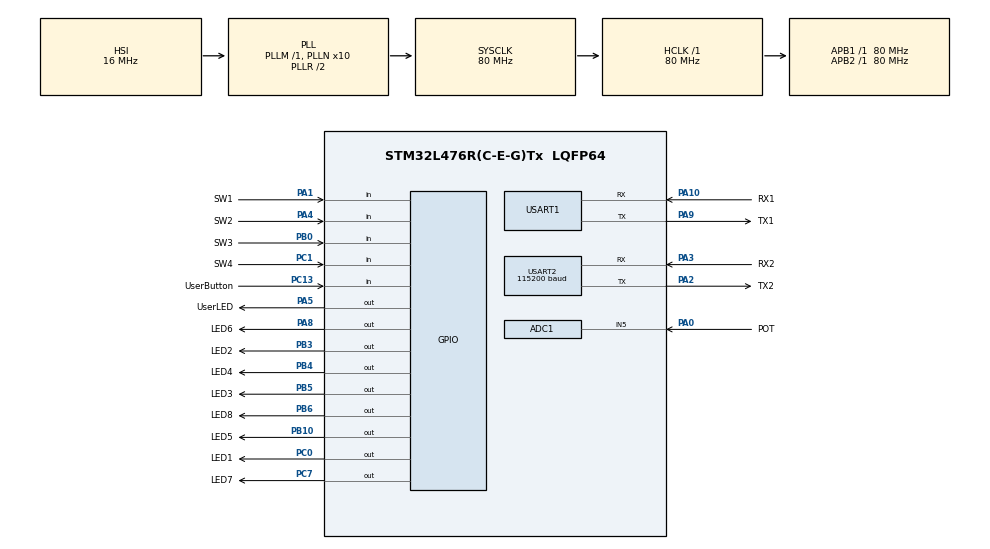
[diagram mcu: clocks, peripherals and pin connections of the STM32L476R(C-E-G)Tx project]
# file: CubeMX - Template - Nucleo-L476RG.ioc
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ADC1.Channel-0\#ChannelRegularConversion=ADC_CHANNEL_5
ADC1.NbrOfConversionFlag=1
ADC1.OffsetNumber-0\#ChannelRegularConversion=ADC_OFFSET_NONE
ADC1.Overrun=ADC_OVR_DATA_OVERWRITTEN
ADC1.Rank-0\#ChannelRegularConversion=1
ADC1.Resolution=ADC_RESOLUTION_12B
ADC1.SamplingTime-0\#ChannelRegularConversion=ADC_SAMPLETIME_2CYCLES_5
ADC1.master=1
IWDG.Prescaler=IWDG_PRESCALER_256
IWDG.Reload=1249
Mcu.Family=STM32L4
Mcu.Name=STM32L476R(C-E-G)Tx
Mcu.Package=LQFP64
NVIC.PriorityGroup=NVIC_PRIORITYGROUP_4
NVIC.USART1_IRQn=true\:0\:0\:false\:false\:true\:true\:true\:true
PA0.GPIO_Label=POT
PA0.Signal=ADCx_IN5
PA1.GPIO_Label=SW1
PA1.Signal=GPIO_Input
PA10.GPIO_Label=RX1
PA10.Mode=Asynchronous
PA10.Signal=USART1_RX
PA13\ (JTMS-SWDIO).GPIO_Label=TMS
PA13\ (JTMS-SWDIO).Mode=Serial_Wire
PA13\ (JTMS-SWDIO).Signal=SYS_JTMS-SWDIO
PA14\ (JTCK-SWCLK).GPIO_Label=TCK
PA14\ (JTCK-SWCLK).Mode=Serial_Wire
PA14\ (JTCK-SWCLK).Signal=SYS_JTCK-SWCLK
PA2.GPIO_Label=TX2
PA2.GPIO_Mode=GPIO_MODE_AF_PP
PA2.GPIO_PuPd=GPIO_NOPULL
PA2.GPIO_Speed=GPIO_SPEED_FREQ_VERY_HIGH
PA2.Mode=Asynchronous
PA2.Signal=USART2_TX
PA3.GPIO_Label=RX2
PA3.GPIO_Mode=GPIO_MODE_AF_PP
PA3.GPIO_PuPd=GPIO_NOPULL
PA3.GPIO_Speed=GPIO_SPEED_FREQ_VERY_HIGH
PA3.Mode=Asynchronous
PA3.Signal=USART2_RX
PA4.GPIO_Label=SW2
PA4.Signal=GPIO_Input
PA5.GPIO_Label=UserLED
PA5.GPIO_ModeDefaultOutputPP=GPIO_MODE_OUTPUT_PP
PA5.GPIO_PuPd=GPIO_NOPULL
PA5.GPIO_Speed=GPIO_SPEED_FREQ_LOW
PA5.Signal=GPIO_Output
PA8.GPIO_Label=LED6
PA8.Signal=GPIO_Output
PA9.GPIO_Label=TX1
PA9.Mode=Asynchronous
PA9.Signal=USART1_TX
PB0.GPIO_Label=SW3
PB0.Signal=GPIO_Input
PB10.GPIO_Label=LED5
PB10.Signal=GPIO_Output
PB3\ (JTDO-TRACESWO).GPIO_Label=LED2
PB3\ (JTDO-TRACESWO).Signal=GPIO_Output
PB4\ (NJTRST).GPIO_Label=LED4
PB4\ (NJTRST).Signal=GPIO_Output
PB5.GPIO_Label=LED3
PB5.Signal=GPIO_Output
PB6.GPIO_Label=LED8
PB6.Signal=GPIO_Output
PC0.GPIO_Label=LED1
PC0.Signal=GPIO_Output
PC1.GPIO_Label=SW4
PC1.Signal=GPIO_Input
PC13.GPIO_Label=UserButton
PC13.Signal=GPIO_Input
PC7.GPIO_Label=LED7
PC7.Signal=GPIO_Output
ProjectManager.HeapSize=0x200
ProjectManager.StackSize=0x400
ProjectManager.TargetToolchain=MDK-ARM V5.32
RCC.ADCFreq_Value=64000000
RCC.AHBFreq_Value=80000000
RCC.APB1Freq_Value=80000000
RCC.APB1TimFreq_Value=80000000
RCC.APB2Freq_Value=80000000
RCC.APB2TimFreq_Value=80000000
RCC.CortexFreq_Value=80000000
RCC.HCLKFreq_Value=80000000
RCC.HSE_VALUE=8000000
RCC.HSI_VALUE=16000000
RCC.LSE_VALUE=32768
RCC.MSI_VALUE=4000000
RCC.PLLN=10
RCC.PLLSourceVirtual=RCC_PLLSOURCE_HSI
RCC.PREFETCH_ENABLE=1
RCC.SYSCLKFreq_VALUE=80000000
RCC.SYSCLKSource=RCC_SYSCLKSOURCE_PLLCLK
RCC.USBFreq_Value=64000000
RCC.VCOOutputFreq_Value=160000000
SH.ADCx_IN5.0=ADC1_IN5,IN5-Single-Ended
USART1.OverrunDisableParam=ADVFEATURE_OVERRUN_DISABLE
USART1.VirtualMode-Asynchronous=VM_ASYNC
USART2.BaudRate=115200
USART2.OverrunDisableParam=ADVFEATURE_OVERRUN_DISABLE
USART2.VirtualMode-Asynchronous=VM_ASYNC
VP_IWDG_VS_IWDG.Mode=IWDG_Activate
board=NUCLEO-L476RG

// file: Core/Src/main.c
/* USER CODE BEGIN Header */
/**
  ******************************************************************************
  * @file           : main.c
  * @brief          : Main program body
  ******************************************************************************
  * @attention
  *
  * Copyright (c) 2023 STMicroelectronics.
  * All rights reserved.
  *
  * This software is licensed under terms that can be found in the LICENSE file
  * in the root directory of this software component.
  * If no LICENSE file comes with this software, it is provided AS-IS.
  *
  ******************************************************************************
  */
	// Versie: 20252026
/* USER CODE END Header */
#include "main.h"

/* USER CODE BEGIN Includes */
#include "stdlib.h"
#include "string.h"
#include "leds.h"
#include "buttons.h"
#include "usart1.h"
#include "usart2.h"
#include "ad.h"
#include "stdio.h"
#include "circularBuffer.h"
#include "esp32c3.h"
#include "wifi.h"
/* USER CODE END Includes */

ADC_HandleTypeDef hadc1;

IWDG_HandleTypeDef hiwdg;

UART_HandleTypeDef huart1;
UART_HandleTypeDef huart2;

/* USER CODE BEGIN PV */
static uint8_t buttonsValue = 0, index = 0;
static uint16_t adValue = 0;
static volatile uint32_t ticks = 0;

static bool userButtonHelp = false, sw1Help = false, sw2Help = false, sw3Help = false, sw4Help = false;
volatile bool timerTicked = false;
static bool timeBasedPublishing = false;
static char text[CHAR_ARRAY_BUFFER_LENGTH];
static char receivedText[CHAR_ARRAY_BUFFER_LENGTH];
static char httpParameters[CHAR_ARRAY_BUFFER_LENGTH];					// Steeds in de vorm:  "key1=value1&key2=value2&...".
static volatile enum UsartState usart1State =	idle;

// Verwijzing maken naar een circulair buffer dat alle binnenkomende data van de ESP-module opslaat.
extern volatile CircularBuffer circularBuffer;
extern enum CircularBufferActionResult circularBufferActionResult;
static uint8_t leds = 0, numberOfReceivedBytes = 0;

static volatile uint8_t receivedUsart1Data = 0;

// Firebase button tracking
static uint8_t previousButtonsValue = 0;  // Houd vorige knopstatus bij
static bool isRequestInProgress = false;  // Beveiliging tegen concurrente requests
/* USER CODE END PV */

void SystemClock_Config(void);
static void MX_GPIO_Init(void);
static void MX_ADC1_Init(void);
static void MX_USART2_UART_Init(void);
static void MX_USART1_UART_Init(void);
static void MX_IWDG_Init(void);

int main(void)
{

  /* MCU Configuration--------------------------------------------------------*/

  /* Reset of all peripherals, Initializes the Flash interface and the Systick. */
  HAL_Init();

  /* Configure the system clock */
  SystemClock_Config();

  /* Initialize all configured peripherals */
  MX_GPIO_Init();
  MX_ADC1_Init();
  MX_USART2_UART_Init();
  MX_USART1_UART_Init();
  MX_IWDG_Init();
  /* USER CODE BEGIN 2 */
	// OPM: gebruikte WiFi-module = ESP01-C3 (https://www.lilygo.cc/products/t-01c3
	// of https://www.tinytronics.nl/shop/nl/communicatie-en-signalen/draadloos/wi-fi/modules/lilygo-t-01c3-esp32-wi-fi-en-bluetooth-le-module).

	// Laten weten dat we opgestart zijn, via de USART2 (USB).
	printf("Reboot\r\n");
	printf("User button = start/stop pushing to Firebase.\r\n");

	// Circulaire buffer initialiseren.
	if(InitCircularBuffer(&circularBuffer) != INIT_SUCCEEDED)
		printf("Initialization of CircularBuffer failed!\r\n");

	// WiFi-module tijd geven om op te starten.
	HAL_Delay(1000);

	// Ontvangst van ��n byte via interrupts starten (voor de ESP32-module).
	HAL_UART_Receive_IT(&huart1, (uint8_t*)&receivedUsart1Data, 1);

	// WiFi-module in AT-mode zetten.
	StringToUsart1("AT\r\n");
	while(!LookForString1(&circularBuffer, "OK\r\n"));

	// WiFi-module resetten.
	StringToUsart1("AT+RST\r\n");
	while(!LookForString1(&circularBuffer, "ready\r\n"));

	// Huidige AT-firmware versie opvragen (optioneel).
	StringToUsart1("AT+GMR\r\n");
	while(!LookForString1(&circularBuffer, "OK\r\n"));

	// MAC-adres opvragen (optioneel).
	StringToUsart1("AT+CIPSTAMAC?\r\n");
	while(!LookForString1(&circularBuffer, "OK\r\n"));

	// Verbinding maken met het WiFi-netwerk (zie wifi.h).
	ConnectToWiFiNetwork(WIFI_SSID, WIFI_PWD);

	// Verbinding maken met de MQTT-broker (enkel indien MQTT van toepassing is).
	// MOMENTEEL UITGESCHAKELD - we gebruiken Firebase RTDB in plaats van MQTT
	//ConnectToMqttBroker(MQTT_BROKER_ADDRESS, MQTT_PORT, MQTT_USER, MQTT_PWD, MQTT_CLIENT_ID);

	// Abonneren op een MQTT-topic.
	// MOMENTEEL UITGESCHAKELD - we gebruiken Firebase RTDB in plaats van MQTT
	//SubscribeToMqttTopic(MQTT_SUB_TOPIC);

  /* USER CODE END 2 */

  /* Infinite loop */
  /* USER CODE BEGIN WHILE */
  while (1)
  {
		// Watchdog timer resetten. Dit zorgt voor een herstart als de hoofdlus iets
		// meer dan x-seconden (zie instellingen in Cube) geblokkeerd is.
		HAL_IWDG_Refresh(&hiwdg);

		// AD-waarde inlezen.
		adValue = (uint8_t)(GetAdValue(&hadc1) >> 4);

		// Alle knoppen inlezen.
		buttonsValue = 0;
		if(SW1Active())
			buttonsValue |= 0x01;
		if(SW2Active())
			buttonsValue |= 0x02;
		if(SW3Active())
			buttonsValue |= 0x04;
		if(SW4Active())
			buttonsValue |= 0x08;
		if(UserButtonActive())
			buttonsValue |= 0x10;

		// LED's updaten.
		ByteToLeds(leds);

		if(buttonsValue != previousButtonsValue && !isRequestInProgress)
		{
			// Status is veranderd en er is geen verzoek in progress.
			isRequestInProgress = true;
			previousButtonsValue = buttonsValue;

			// JSON-payload voorbereiden met alle 5 knoppen.
			// Bit 0: SW1, Bit 1: SW2, Bit 2: SW3, Bit 3: SW4, Bit 4: User Button
			sprintf(httpParameters, "{\"SW1\":%d,\"SW2\":%d,\"SW3\":%d,\"SW4\":%d,\"UserButton\":%d}",
				(buttonsValue & 0x01) ? 1 : 0,
				(buttonsValue & 0x02) ? 1 : 0,
				(buttonsValue & 0x04) ? 1 : 0,
				(buttonsValue & 0x08) ? 1 : 0,
				(buttonsValue & 0x10) ? 1 : 0);

			// HTTPS PATCH request naar Firebase RTDB verzenden.
			sprintf(text, "/buttons.json?auth=%s", HTTPS_DATABASE_SECRET);
			HttpsRequest(HTTPS_HOST, text, 443, PATCH, httpParameters);

			// Log voor debugging
			printf("Knoppen gewijzigd: %s\r\n", httpParameters);
		}

		// Mogelijks ontvangen TCP-, HTTP-, HTTPS-, of MQTT-berichten zoeken in het circulair buffer.
		// De berichten zijn van de vorm: +IPD, of +MQTTSUBRECV:0,"hostname/esp8266",3,254.
		while(circularBuffer.numberOfStringsInBuffer > 0)
		{
			// Één string ophalen.
			circularBufferActionResult = PopStringFromCircularBuffer(&circularBuffer, receivedText);
			if(circularBufferActionResult == READ_STRING_SUCCEEDED)
			{
				// HTTP(S)-ontvangst onderzoeken. Zoek achter "+IPD,". Dat geeft het begin aan van de ontvangen TCP-data.
				if(strncmp("+IPD,", receivedText, 5) == 0)
				{
					// Zoek uit hoeveel bytes er ontvangen werden (optioneel).
					numberOfReceivedBytes = (uint16_t)atoi(&receivedText[5]);
					//sprintf(text, "Number of received bytes: %d.\r\n", numberOfReceivedBytes);
					//StringToUsart2(text);

					// Op het einde van de HTTP-headers is een lege lijn. Zoek ze. Sla dus alle HTTP-headers over.
					// Daarna staat de gevraagde info, afkomstig van de server.
					while(!LookForString1(&circularBuffer, "\r\n"));

					// Even wachten, zodat de volgende lijn data kan binnenkomen.
					while(circularBuffer.numberOfStringsInBuffer == 0);

					// Lees die volgende lijn uit. Dat is de lijn met de ontvangen data vanop het netwerk.
					circularBufferActionResult = PopStringFromCircularBuffer(&circularBuffer, receivedText);

					// Firebase response ontvangen - verzoek is voltooid
					isRequestInProgress = false;

					// Log voor debugging
					printf("Firebase antword ontvangen : %s\r\n", receivedText);
				}
			}
		}

		// Even wachten (voor onder andere anti dender).
		HAL_Delay(10);
    /* USER CODE END WHILE */

  }
}

void SystemClock_Config(void)
{
  RCC_OscInitTypeDef RCC_OscInitStruct = {0};
  RCC_ClkInitTypeDef RCC_ClkInitStruct = {0};

  /** Configure the main internal regulator output voltage
  */
  if (HAL_PWREx_ControlVoltageScaling(PWR_REGULATOR_VOLTAGE_SCALE1) != HAL_OK)
  {
    Error_Handler();
  }

  /** Initializes the RCC Oscillators according to the specified parameters
  * in the RCC_OscInitTypeDef structure.
  */
  RCC_OscInitStruct.OscillatorType = RCC_OSCILLATORTYPE_HSI|RCC_OSCILLATORTYPE_LSI;
  RCC_OscInitStruct.HSIState = RCC_HSI_ON;
  RCC_OscInitStruct.HSICalibrationValue = RCC_HSICALIBRATION_DEFAULT;
  RCC_OscInitStruct.LSIState = RCC_LSI_ON;
  RCC_OscInitStruct.PLL.PLLState = RCC_PLL_ON;
  RCC_OscInitStruct.PLL.PLLSource = RCC_PLLSOURCE_HSI;
  RCC_OscInitStruct.PLL.PLLM = 1;
  RCC_OscInitStruct.PLL.PLLN = 10;
  RCC_OscInitStruct.PLL.PLLP = RCC_PLLP_DIV7;
  RCC_OscInitStruct.PLL.PLLQ = RCC_PLLQ_DIV2;
  RCC_OscInitStruct.PLL.PLLR = RCC_PLLR_DIV2;
  if (HAL_RCC_OscConfig(&RCC_OscInitStruct) != HAL_OK)
  {
    Error_Handler();
  }

  /** Initializes the CPU, AHB and APB buses clocks
  */
  RCC_ClkInitStruct.ClockType = RCC_CLOCKTYPE_HCLK|RCC_CLOCKTYPE_SYSCLK
                              |RCC_CLOCKTYPE_PCLK1|RCC_CLOCKTYPE_PCLK2;
  RCC_ClkInitStruct.SYSCLKSource = RCC_SYSCLKSOURCE_PLLCLK;
  RCC_ClkInitStruct.AHBCLKDivider = RCC_SYSCLK_DIV1;
  RCC_ClkInitStruct.APB1CLKDivider = RCC_HCLK_DIV1;
  RCC_ClkInitStruct.APB2CLKDivider = RCC_HCLK_DIV1;

  if (HAL_RCC_ClockConfig(&RCC_ClkInitStruct, FLASH_LATENCY_4) != HAL_OK)
  {
    Error_Handler();
  }
}

static void MX_ADC1_Init(void)
{

  ADC_MultiModeTypeDef multimode = {0};
  ADC_ChannelConfTypeDef sConfig = {0};

  /** Common config
  */
  hadc1.Instance = ADC1;
  hadc1.Init.ClockPrescaler = ADC_CLOCK_ASYNC_DIV1;
  hadc1.Init.Resolution = ADC_RESOLUTION_12B;
  hadc1.Init.DataAlign = ADC_DATAALIGN_RIGHT;
  hadc1.Init.ScanConvMode = ADC_SCAN_DISABLE;
  hadc1.Init.EOCSelection = ADC_EOC_SINGLE_CONV;
  hadc1.Init.LowPowerAutoWait = DISABLE;
  hadc1.Init.ContinuousConvMode = DISABLE;
  hadc1.Init.NbrOfConversion = 1;
  hadc1.Init.DiscontinuousConvMode = DISABLE;
  hadc1.Init.ExternalTrigConv = ADC_SOFTWARE_START;
  hadc1.Init.ExternalTrigConvEdge = ADC_EXTERNALTRIGCONVEDGE_NONE;
  hadc1.Init.DMAContinuousRequests = DISABLE;
  hadc1.Init.Overrun = ADC_OVR_DATA_OVERWRITTEN;
  hadc1.Init.OversamplingMode = DISABLE;
  if (HAL_ADC_Init(&hadc1) != HAL_OK)
  {
    Error_Handler();
  }

  /** Configure the ADC multi-mode
  */
  multimode.Mode = ADC_MODE_INDEPENDENT;
  if (HAL_ADCEx_MultiModeConfigChannel(&hadc1, &multimode) != HAL_OK)
  {
    Error_Handler();
  }

  /** Configure Regular Channel
  */
  sConfig.Channel = ADC_CHANNEL_5;
  sConfig.Rank = ADC_REGULAR_RANK_1;
  sConfig.SamplingTime = ADC_SAMPLETIME_2CYCLES_5;
  sConfig.SingleDiff = ADC_SINGLE_ENDED;
  sConfig.OffsetNumber = ADC_OFFSET_NONE;
  sConfig.Offset = 0;
  if (HAL_ADC_ConfigChannel(&hadc1, &sConfig) != HAL_OK)
  {
    Error_Handler();
  }

}

static void MX_IWDG_Init(void)
{

  hiwdg.Instance = IWDG;
  hiwdg.Init.Prescaler = IWDG_PRESCALER_256;
  hiwdg.Init.Window = 4095;
  hiwdg.Init.Reload = 1249;
  if (HAL_IWDG_Init(&hiwdg) != HAL_OK)
  {
    Error_Handler();
  }

}

static void MX_USART1_UART_Init(void)
{

  huart1.Instance = USART1;
  huart1.Init.BaudRate = 115200;
  huart1.Init.WordLength = UART_WORDLENGTH_8B;
  huart1.Init.StopBits = UART_STOPBITS_1;
  huart1.Init.Parity = UART_PARITY_NONE;
  huart1.Init.Mode = UART_MODE_TX_RX;
  huart1.Init.HwFlowCtl = UART_HWCONTROL_NONE;
  huart1.Init.OverSampling = UART_OVERSAMPLING_16;
  huart1.Init.OneBitSampling = UART_ONE_BIT_SAMPLE_DISABLE;
  huart1.AdvancedInit.AdvFeatureInit = UART_ADVFEATURE_RXOVERRUNDISABLE_INIT;
  huart1.AdvancedInit.OverrunDisable = UART_ADVFEATURE_OVERRUN_DISABLE;
  if (HAL_UART_Init(&huart1) != HAL_OK)
  {
    Error_Handler();
  }

}

static void MX_USART2_UART_Init(void)
{

  huart2.Instance = USART2;
  huart2.Init.BaudRate = 115200;
  huart2.Init.WordLength = UART_WORDLENGTH_8B;
  huart2.Init.StopBits = UART_STOPBITS_1;
  huart2.Init.Parity = UART_PARITY_NONE;
  huart2.Init.Mode = UART_MODE_TX_RX;
  huart2.Init.HwFlowCtl = UART_HWCONTROL_NONE;
  huart2.Init.OverSampling = UART_OVERSAMPLING_16;
  huart2.Init.OneBitSampling = UART_ONE_BIT_SAMPLE_DISABLE;
  huart2.AdvancedInit.AdvFeatureInit = UART_ADVFEATURE_RXOVERRUNDISABLE_INIT;
  huart2.AdvancedInit.OverrunDisable = UART_ADVFEATURE_OVERRUN_DISABLE;
  if (HAL_UART_Init(&huart2) != HAL_OK)
  {
    Error_Handler();
  }

}

static void MX_GPIO_Init(void)
{
  GPIO_InitTypeDef GPIO_InitStruct = {0};

  /* GPIO Ports Clock Enable */
  __HAL_RCC_GPIOC_CLK_ENABLE();
  __HAL_RCC_GPIOA_CLK_ENABLE();
  __HAL_RCC_GPIOB_CLK_ENABLE();

  /*Configure GPIO pin Output Level */
  HAL_GPIO_WritePin(GPIOC, LED1_Pin|LED7_Pin, GPIO_PIN_RESET);

  /*Configure GPIO pin Output Level */
  HAL_GPIO_WritePin(GPIOA, UserLED_Pin|LED6_Pin, GPIO_PIN_RESET);

  /*Configure GPIO pin Output Level */
  HAL_GPIO_WritePin(GPIOB, LED5_Pin|LED2_Pin|LED4_Pin|LED3_Pin
                          |LED8_Pin, GPIO_PIN_RESET);

  /*Configure GPIO pins : UserButton_Pin SW4_Pin */
  GPIO_InitStruct.Pin = UserButton_Pin|SW4_Pin;
  GPIO_InitStruct.Mode = GPIO_MODE_INPUT;
  GPIO_InitStruct.Pull = GPIO_NOPULL;
  HAL_GPIO_Init(GPIOC, &GPIO_InitStruct);

  /*Configure GPIO pins : LED1_Pin LED7_Pin */
  GPIO_InitStruct.Pin = LED1_Pin|LED7_Pin;
  GPIO_InitStruct.Mode = GPIO_MODE_OUTPUT_PP;
  GPIO_InitStruct.Pull = GPIO_NOPULL;
  GPIO_InitStruct.Speed = GPIO_SPEED_FREQ_LOW;
  HAL_GPIO_Init(GPIOC, &GPIO_InitStruct);

  /*Configure GPIO pins : SW1_Pin SW2_Pin */
  GPIO_InitStruct.Pin = SW1_Pin|SW2_Pin;
  GPIO_InitStruct.Mode = GPIO_MODE_INPUT;
  GPIO_InitStruct.Pull = GPIO_NOPULL;
  HAL_GPIO_Init(GPIOA, &GPIO_InitStruct);

  /*Configure GPIO pins : UserLED_Pin LED6_Pin */
  GPIO_InitStruct.Pin = UserLED_Pin|LED6_Pin;
  GPIO_InitStruct.Mode = GPIO_MODE_OUTPUT_PP;
  GPIO_InitStruct.Pull = GPIO_NOPULL;
  GPIO_InitStruct.Speed = GPIO_SPEED_FREQ_LOW;
  HAL_GPIO_Init(GPIOA, &GPIO_InitStruct);

  /*Configure GPIO pin : SW3_Pin */
  GPIO_InitStruct.Pin = SW3_Pin;
  GPIO_InitStruct.Mode = GPIO_MODE_INPUT;
  GPIO_InitStruct.Pull = GPIO_NOPULL;
  HAL_GPIO_Init(SW3_GPIO_Port, &GPIO_InitStruct);

  /*Configure GPIO pins : LED5_Pin LED2_Pin LED4_Pin LED3_Pin
                           LED8_Pin */
  GPIO_InitStruct.Pin = LED5_Pin|LED2_Pin|LED4_Pin|LED3_Pin
                          |LED8_Pin;
  GPIO_InitStruct.Mode = GPIO_MODE_OUTPUT_PP;
  GPIO_InitStruct.Pull = GPIO_NOPULL;
  GPIO_InitStruct.Speed = GPIO_SPEED_FREQ_LOW;
  HAL_GPIO_Init(GPIOB, &GPIO_InitStruct);

}

/* USER CODE BEGIN 4 */
// Code hieronder wordt opgeroepen als alle data van HAL_UART_Receive_IT(() ontvangen is...
// Deze functie wordt opgeroepen vanuit HAL_UART_IRQHandler().
// De data is afkomstig van de ESP01-C3-module.
// Alle data wordt opgeslaan in de globale variabele 'circularBuffer', die gedefinieerd is in circularBuffer.c.
void HAL_UART_RxCpltCallback(UART_HandleTypeDef *UartHandle)
{
	// Is het data van UART1?
	if(UartHandle->Instance == USART1)
	{
		// Byte versturen op USART2 (USB) zodat je ook op de computer kan meevolgen. Dit is niet verplicht, maar vergemakkelijkt het debuggen.
		// Let op: zorg voor een timeout van 0, anders kan de code hier te traag verlopen en problemen bezorgen op UART1.
		HAL_UART_Transmit(&huart2, (uint8_t *)&receivedUsart1Data, 1, 0);
//		// Indien timing problemen, zou onderstaande kunnen helpen...
//		huart2.Instance->TDR = (uint8_t)receivedUsart1Data;

		// Ontvangen data opslaan in een circulair buffer.
		// Het circulair buffer zorgt ervoor dat er geen bytes misgelopen raken. Je kan daarna in de hoofdlus 'rustig aan' alle
		// ontvangen data gaan verwerken...
		if(usart1State == busyReceiving)
		{
			// Is er nog plaats in het buffer?
			if(!IsCircularBufferFull(&circularBuffer))
			{
				// Karakter opslaan.
				PushCharToCircularBuffer(&circularBuffer, receivedUsart1Data);

				// Nieuwe lijn ontvangen. Geef aan dat je klaar bent voor een volgende lijn...
				if(receivedUsart1Data == '\n')
						usart1State = idle;
			}
		}
		else
		{
			// Start van de ontvangst/lijn.
			if(usart1State == idle)
			{
				// Is er nog plaats in het buffer?
				if(!IsCircularBufferFull(&circularBuffer))
				{
					// Buffer nog niet vol. Begin met opslaan in de circulaire buffer.
					usart1State = busyReceiving;

					// Karakter opslaan.
					PushCharToCircularBuffer(&circularBuffer, receivedUsart1Data);

					// Nieuwe lijn ontvangen. Geef aan dat je klaar bent voor een volgende lijn...
					if(receivedUsart1Data == '\n')
						usart1State = idle;
					else
					{
						// Na het versturen van het 'AT+CIPSEND'- of een 'MQTTPUBRAW'-command, moet er gewacht worden op het '>'-karakter. Detecteer
						// de ontvangst van dat karakter hier. Voeg automatisch een "\r\n" toe om zo geforceerd een nieuwe lijn in het circulair buffer
						// aan te maken. Hierdoor kan de data uit dat buffer, gemakkelijker verwerkt worden.
						if(receivedUsart1Data == '>')
						{
							// Geforceerd extra lijn opslaan met ">\r\n".
							PushCharToCircularBuffer(&circularBuffer, '\r');
							PushCharToCircularBuffer(&circularBuffer, '\n');

							usart1State = idle;
						}
					}
				}
			}
		}

		// Ontvangst via interrupts opnieuw starten. Want RXNEIE wordt automatisch uitgeschakeld.
		HAL_UART_Receive_IT(&huart1, (uint8_t*)&receivedUsart1Data, 1);
	}
}
/* USER CODE END 4 */

void Error_Handler(void)
{
  __disable_irq();
  while (1)
  {
  }
}
#ifdef USE_FULL_ASSERT
/**
  * @brief  Reports the name of the source file and the source line number
  *         where the assert_param error has occurred.
  * @param  file: pointer to the source file name
  * @param  line: assert_param error line source number
  * @retval None
  */
void assert_failed(uint8_t *file, uint32_t line)
{
  /* USER CODE BEGIN 6 */
  /* User can add his own implementation to report the file name and line number,
     ex: printf("Wrong parameters value: file %s on line %d\r\n", file, line) */
// Versie: 20252026
  /* USER CODE END 6 */
}
#endif /* USE_FULL_ASSERT */
